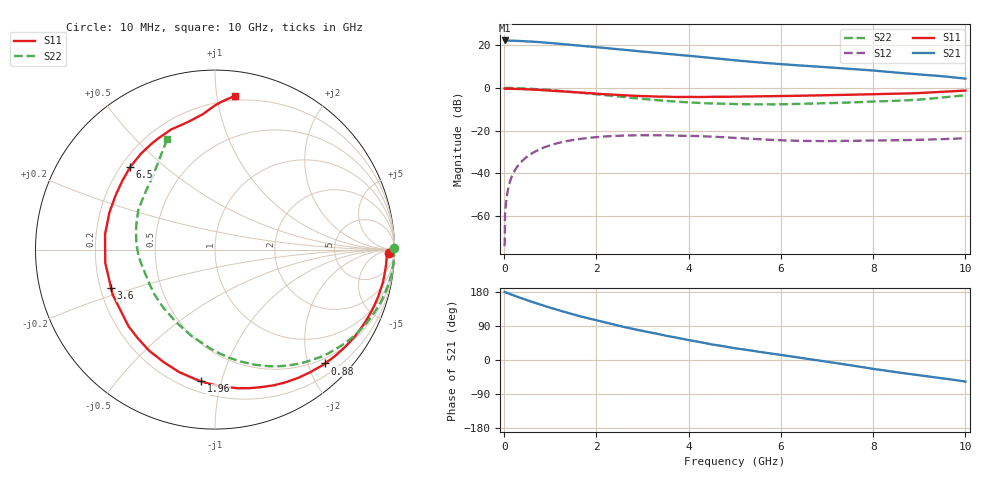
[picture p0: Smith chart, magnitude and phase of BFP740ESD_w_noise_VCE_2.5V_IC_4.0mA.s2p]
! Infineon Technologies  Discrete & RF Semiconductors
! BFP740ESD
! VCE =  2.5 V,  IC =  4.0 mA
! Common Emitter S-Parameters:  Jan 2016
# GHz  S  MA  R  50
!  f  S11  S21  S12  S22
! GHz  MAG  ANG  MAG  ANG  MAG  ANG  MAG  ANG
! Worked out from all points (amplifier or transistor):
!   233 points, 10 MHz to 10 GHz, reference 50 ohm
!   highest |S21| = 22.2 dB at 10 MHz (marker M1)
!   |S21| within 3 dB of that: start of sweep to 1.936 GHz
!   unconditionally stable (mu >= 1): 6.054 GHz to 9.404 GHz
!   at 200 MHz: K = 0.04, MSG = 30.9 dB, |S12| = -39.8 dB
!   at 1.74 GHz: K = 0.24, MSG = 21.6 dB, |S12| = -23.6 dB
!   at 10 GHz: K = 0.69, MSG = 13.9 dB, |S12| = -23.6 dB
!   lowest NFmin = 0.51 dB at 450 MHz
!   S11 on the Smith chart (normalised r, x): 10 MHz: 47, -24; 880 MHz: 0.40, -2.30; 1.96 GHz: 0.27, -0.86; 3.6 GHz: 0.24, -0.17; 6.5 GHz: 0.24, +0.39; 10 GHz: 0.16, +1.13
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0.01  0.9668 -1.0  12.83 179.6  0.0002 -135.9  0.9952 0.5
0.02  0.9561 -1.2  12.64 179.2  0.0011 87.4  0.9987 -0.8
0.04  0.9572 -2.1  12.65 178.1  0.0021 89.1  0.9987 -1.5
0.16  0.9541 -8.7  12.7 172.6  0.0082 83.7  0.9952 -6.1
0.34  0.9425 -18.3  12.49 164.5  0.0172 77.6  0.9824 -12.8
0.54  0.9225 -28.8  12.13 156.0  0.0267 70.6  0.9599 -20.1
0.88  0.8819 -46.0  11.46 142.6  0.0412 59.3  0.9112 -31.9
1.28  0.8263 -65.6  10.58 127.8  0.0551 47.1  0.8408 -45.1
1.68  0.7715 -84.0  9.662 114.3  0.065 36.2  0.7674 -57.0
1.96  0.7374 -96.1  9.03 105.7  0.0701 29.5  0.7187 -64.7
2.6  0.6722 -123.1  7.765 87.1  0.077 15.5  0.6102 -82.1
3  0.6444 -138.3  7.054 76.7  0.0782 8.3  0.5534 -92.4
3.4  0.6223 -152.6  6.417 67.0  0.0778 2.1  0.5079 -102.4
3.6  0.6174 -159.6  6.14 62.2  0.0774 -0.7  0.4891 -107.5
4  0.6159 -173.2  5.637 52.6  0.0762 -6.0  0.4584 -118.2
4.5  0.6185 172.0  5.003 41.1  0.0727 -11.9  0.433 -131.9
5.1  0.6236 158.8  4.319 29.4  0.067 -16.1  0.4174 -145.2
6.5  0.6595 135.7  3.297 4.3  0.0577 -17.1  0.4277 -175.1
6.8  0.6672 130.9  3.131 -0.9  0.0573 -16.3  0.4335 179.1
7.6  0.6951 117.3  2.747 -15.6  0.0582 -15.1  0.4599 162.2
8.4  0.723 103.4  2.329 -30.4  0.0594 -15.3  0.4943 144.0
10  0.8653 82.5  1.646 -57.0  0.0664 -17.0  0.6732 113.2
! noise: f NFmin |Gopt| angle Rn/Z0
0.45  0.51  0.48  6  0.16
0.9  0.54  0.48  17  0.14
1.9  0.58  0.41  37  0.12
2.4  0.65  0.36  54  0.14
5.5  0.98  0.27  -178  0.11
10  2.13  0.64  -96  0.63
